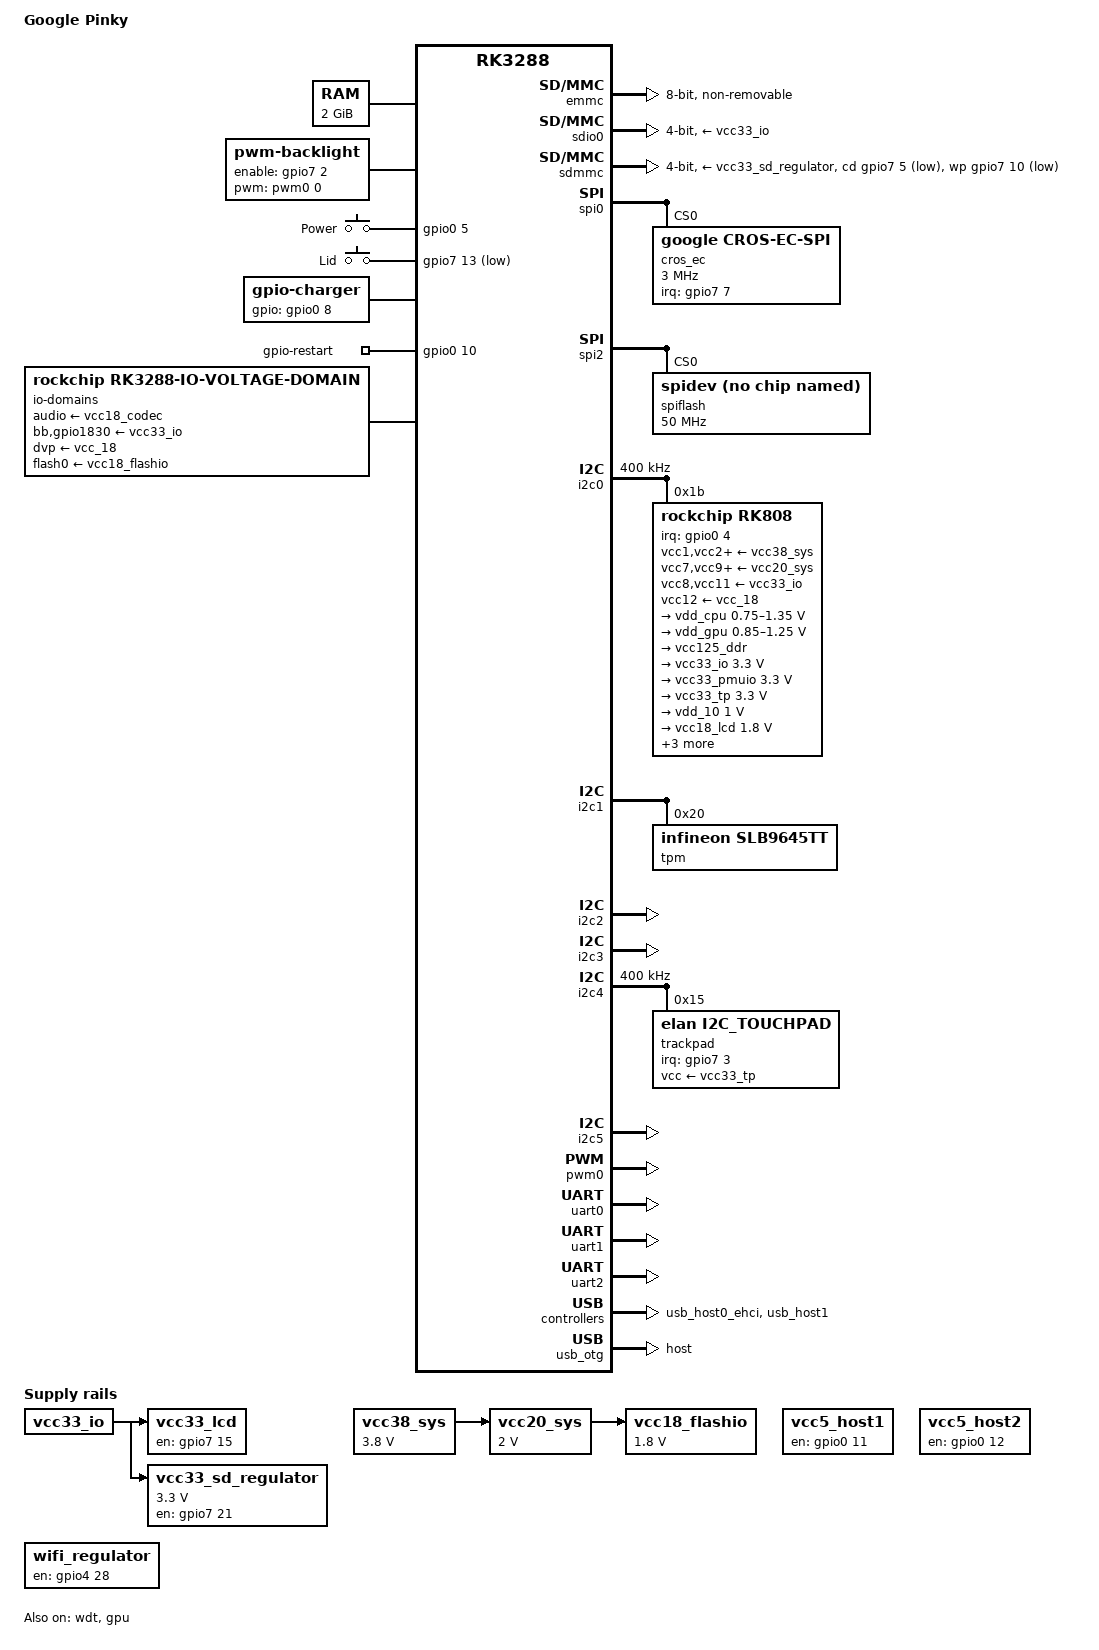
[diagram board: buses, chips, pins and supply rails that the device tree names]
/*
 * Google Veyron Pinky Rev 1 board device tree source
 *
 * Copyright 2014 Google, Inc
 *
 * This program is free software; you can redistribute it and/or modify
 * it under the terms of the GNU General Public License version 2 as
 * published by the Free Software Foundation.
 */

/dts-v1/;
#include <dt-bindings/clock/rockchip,rk808.h>
#include <dt-bindings/input/input.h>
#include "rk3288.dtsi"

/ {
	model = "Google Pinky";
	compatible = "google,veyron-pinky-rev1", "google,veyron-pinky",
		     "google,veyron", "rockchip,rk3288";

	aliases {
		i2c20 = &i2c20;
	};

	memory {
		reg = <0x0 0x80000000>;
	};

	backlight {
		compatible = "pwm-backlight";
		brightness-levels = <
			  0   1   2   3   4   5   6   7
			  8   9  10  11  12  13  14  15
			 16  17  18  19  20  21  22  23
			 24  25  26  27  28  29  30  31
			 32  33  34  35  36  37  38  39
			 40  41  42  43  44  45  46  47
			 48  49  50  51  52  53  54  55
			 56  57  58  59  60  61  62  63
			 64  65  66  67  68  69  70  71
			 72  73  74  75  76  77  78  79
			 80  81  82  83  84  85  86  87
			 88  89  90  91  92  93  94  95
			 96  97  98  99 100 101 102 103
			104 105 106 107 108 109 110 111
			112 113 114 115 116 117 118 119
			120 121 122 123 124 125 126 127
			128 129 130 131 132 133 134 135
			136 137 138 139 140 141 142 143
			144 145 146 147 148 149 150 151
			152 153 154 155 156 157 158 159
			160 161 162 163 164 165 166 167
			168 169 170 171 172 173 174 175
			176 177 178 179 180 181 182 183
			184 185 186 187 188 189 190 191
			192 193 194 195 196 197 198 199
			200 201 202 203 204 205 206 207
			208 209 210 211 212 213 214 215
			216 217 218 219 220 221 222 223
			224 225 226 227 228 229 230 231
			232 233 234 235 236 237 238 239
			240 241 242 243 244 245 246 247
			248 249 250 251 252 253 254 255>;
		default-brightness-level = <128>;
		enable-gpios = <&gpio7 2 GPIO_ACTIVE_HIGH>;
		pinctrl-names = "default";
		pinctrl-0 = <&bl_en>;
		pwms = <&pwm0 0 1000000 0>;
	};

	gpio-keys {
		compatible = "gpio-keys";
		#address-cells = <1>;
		#size-cells = <0>;
		autorepeat;

		pinctrl-names = "default";
		pinctrl-0 = <&pwr_key_h &lid_int>;
		power {
			label = "Power";
			gpios = <&gpio0 5 GPIO_ACTIVE_HIGH>;
			linux,code = <KEY_POWER>;
			debounce-interval = <100>;
			gpio-key,wakeup;
		};

		lid {
			label = "Lid";
			gpios = <&gpio7 13 GPIO_ACTIVE_LOW>;
			linux,code = <0>; /* SW_LID */
			linux,input-type = <5>; /* EV_SW */
			debounce-interval = <1>;
			gpio-key,wakeup;
                };
	};

	gpio-charger {
		compatible = "gpio-charger";
		gpios = <&gpio0 8 GPIO_ACTIVE_HIGH>;
		pinctrl-names = "default";
		pinctrl-0 = <&ac_present_ap>;
		charger-type = "mains";
	};

	gpio-restart {
		compatible = "gpio-restart";
		gpios = <&gpio0 10 GPIO_ACTIVE_HIGH>;
		pinctrl-names = "default";
		pinctrl-0 = <&otp_out>;
		priority = /bits/ 8 <200>;
	};

	vcc38_sys: vcc38-sys {
		compatible = "regulator-fixed";
		regulator-name = "vcc38_sys";
		regulator-always-on;
		regulator-boot-on;
		regulator-min-microvolt = <3800000>;
		regulator-max-microvolt = <3800000>;
	};

	vcc20_sys: vcc20-sys {
		compatible = "regulator-fixed";
		regulator-name = "vcc20_sys";
		regulator-always-on;
		regulator-boot-on;
		regulator-min-microvolt = <2000000>;
		regulator-max-microvolt = <2000000>;
		vin-supply = <&vcc38_sys>;
	};

	vcc18_flashio: vcc18-flashio {
		compatible = "regulator-fixed";
		regulator-name = "vcc18_flashio";
		regulator-always-on;
		regulator-boot-on;
		regulator-min-microvolt = <1800000>;
		regulator-max-microvolt = <1800000>;
		vin-supply = <&vcc20_sys>;
	};

	vcc33_lcd: vcc33-lcd-regulator {
		compatible = "regulator-fixed";
		enable-active-high;
		gpio = <&gpio7 15 GPIO_ACTIVE_HIGH>;
		pinctrl-names = "default";
		pinctrl-0 = <&lcd_en>;
		regulator-name = "vcc33_lcd";
		regulator-always-on;		/* TODO: remove */
		regulator-boot-on;
		vin-supply = <&vcc33_io>;
	};

	/* This enables the regulator for vcc33_sd */
	vcc33_sd_regulator: vcc33-sd-regulator {
		compatible = "regulator-fixed";
		enable-active-high;
		gpio = <&gpio7 21 GPIO_ACTIVE_HIGH>;
		pinctrl-names = "default";
		pinctrl-0 = <&sd_en>;
		regulator-always-on;
		regulator-min-microvolt = <3300000>;
		regulator-max-microvolt = <3300000>;
		regulator-name = "vcc33_sd";
		vin-supply = <&vcc33_io>;
	};

	/* This turns on vbus for host1 (dwc2) */
	vcc5_host1: vcc5-host1-regulator {
		compatible = "regulator-fixed";
		enable-active-high;
		gpio = <&gpio0 11 GPIO_ACTIVE_HIGH>;
		pinctrl-names = "default";
		pinctrl-0 = <&usb1_pwr_en>;
		regulator-name = "vcc5_host1";
		regulator-always-on;
		regulator-boot-on;
	};

	/* This turns on vbus for otg for host mode (dwc2) */
	vcc5_host2: vcc5-host2-regulator {
		compatible = "regulator-fixed";
		enable-active-high;
		gpio = <&gpio0 12 GPIO_ACTIVE_HIGH>;
		pinctrl-names = "default";
		pinctrl-0 = <&usb2_pwr_en>;
		regulator-name = "vcc5_host2";
		regulator-always-on;
		regulator-boot-on;
	};

	wifi_regulator: wifi-regulator {
		compatible = "regulator-fixed";
		enable-active-high;
		gpio = <&gpio4 28 GPIO_ACTIVE_HIGH>;
		pinctrl-names = "default";
		pinctrl-0 = <&wifi_reg_on>;
		regulator-name = "wifi_regulator";
	};

	io-domains {
		compatible = "rockchip,rk3288-io-voltage-domain";
		rockchip,grf = <&grf>;

		audio-supply = <&vcc18_codec>;
		bb-supply = <&vcc33_io>;
		dvp-supply = <&vcc_18>;
		flash0-supply = <&vcc18_flashio>;
		gpio1830-supply = <&vcc33_io>;
		gpio30-supply = <&vcc33_pmuio>;
		lcdc-supply = <&vcc33_lcd>;
		sdcard-supply = <&vccio_sd>;
		wifi-supply = <&vcc18_wl>;
	};
};

&cpu0 {
	cpu0-supply = <&vdd_cpu>;

	operating-points = <
		/* KHz    uV */
		1800000 1300000
		1608000 1200000
		1416000 1150000
		1200000 1100000
		1008000 1050000
		 816000 1000000
		 600000  900000
		 408000  850000
		 216000  850000
		 126000  850000
	>;
};

&emmc {
	broken-cd;
	bus-width = <8>;
	cap-mmc-highspeed;
	disable-wp;
	non-removable;
	num-slots = <1>;
	pinctrl-names = "default";
	pinctrl-0 = <&emmc_clk &emmc_cmd &emmc_pwr &emmc_bus8>;
	status = "okay";
};

&sdio0 {
	broken-cd;
	bus-width = <4>;
	cap-sd-highspeed;
	card-external-vcc-supply = <&wifi_regulator>;
	clocks = <&cru HCLK_SDIO0>, <&cru SCLK_SDIO0>, <&rk808 RK808_CLKOUT1>;
	clock-names = "biu", "ciu", "card_ext_clock";
	keep-power-in-suspend;
	num-slots = <1>;
	pinctrl-names = "default";
	pinctrl-0 = <&sdio0_clk &sdio0_cmd &sdio0_bus4>;
	status = "okay";
	vmmc-supply = <&vcc33_io>;
	vqmmc-supply = <&vcc18_wl>;
};

&sdmmc {
	bus-width = <4>;
	cap-mmc-highspeed;
	cap-sd-highspeed;
	card-detect-delay = <200>;
	cd-gpios = <&gpio7 5 GPIO_ACTIVE_LOW>;
	num-slots = <1>;
	pinctrl-names = "default";
	pinctrl-0 = <&sdmmc_clk &sdmmc_cmd &sdmmc_cd_gpio &sdmmc_wp_gpio
		     &sdmmc_bus4>;
	status = "okay";
	vmmc-supply = <&vcc33_sd_regulator>;
	wp-gpios = <&gpio7 10 GPIO_ACTIVE_LOW>;
};

&spi0 {
	status = "okay";

	cros_ec: ec@0 {
		compatible = "google,cros-ec-spi";
		spi-max-frequency = <3000000>;
		interrupt-parent = <&gpio7>;
		interrupts = <7 IRQ_TYPE_LEVEL_LOW>;
		pinctrl-names = "default";
		pinctrl-0 = <&ec_int>;
		reg = <0>;
		google,cros-ec-spi-pre-delay = <30>;

		i2c20: i2c-tunnel {
			compatible = "google,cros-ec-i2c-tunnel";
			google,remote-bus = <0>;
			#address-cells = <1>;
			#size-cells = <0>;

			battery: sbs-battery@b {
				compatible = "sbs,sbs-battery";
				reg = <0xb>;
				sbs,i2c-retry-count = <2>;
				sbs,poll-retry-count = <1>;
			};
		};
	};
};

&spi2 {
	status = "okay";

	spiflash@0 {
		compatible = "spidev";
		spi-max-frequency = <50000000>;
		reg = <0>;
	};
};

&i2c0 {
	clock-frequency = <400000>;
	status = "okay";

	rk808: pmic@1b {
		compatible = "rockchip,rk808";
		clock-output-names = "xin32k", "wifibt_32kin";
		interrupt-parent = <&gpio0>;
		interrupts = <4 IRQ_TYPE_LEVEL_LOW>;
		pinctrl-names = "default";
		pinctrl-0 = <&pmic_int>;
		reg = <0x1b>;
		rockchip,system-power-controller;
		wakeup-source;
		#clock-cells = <1>;

		vcc1-supply = <&vcc38_sys>;
		vcc2-supply = <&vcc38_sys>;
		vcc3-supply = <&vcc38_sys>;
		vcc4-supply = <&vcc38_sys>;
		vcc6-supply = <&vcc38_sys>;
		vcc7-supply = <&vcc20_sys>;
		vcc8-supply = <&vcc33_io>;
		vcc9-supply = <&vcc20_sys>;
		vcc10-supply = <&vcc20_sys>;
		vcc11-supply = <&vcc33_io>;
		vcc12-supply = <&vcc_18>;

		vddio-supply = <&vcc33_pmuio>;

		regulators {
			vdd_cpu: DCDC_REG1 {
				regulator-always-on;
				regulator-boot-on;
				regulator-min-microvolt = <750000>;
				regulator-max-microvolt = <1350000>;
				regulator-name = "vdd_arm";
				regulator-ramp-delay = <2000>;
			};

			vdd_gpu: DCDC_REG2 {
				regulator-always-on;
				regulator-boot-on;
				regulator-min-microvolt = <850000>;
				regulator-max-microvolt = <1250000>;
				regulator-name = "vdd_gpu";
				regulator-ramp-delay = <2000>;
			};

			vcc125_ddr: DCDC_REG3 {
				regulator-always-on;
				regulator-boot-on;
				regulator-name = "vcc125_ddr";
			};

			vcc33_io: DCDC_REG4 {
				regulator-always-on;
				regulator-boot-on;
				regulator-min-microvolt = <3300000>;
				regulator-max-microvolt = <3300000>;
				regulator-name = "vcc33_io";
			};

			vcc33_pmuio: LDO_REG1 {
				regulator-always-on;
				regulator-boot-on;
				regulator-min-microvolt = <3300000>;
				regulator-max-microvolt = <3300000>;
				regulator-name = "vcc33_pmuio";
			};

			vcc33_tp: LDO_REG2 {
				regulator-always-on;
				regulator-boot-on;
				regulator-min-microvolt = <3300000>;
				regulator-max-microvolt = <3300000>;
				regulator-name = "vcc33_tp";
			};

			vdd_10: LDO_REG3 {
				regulator-always-on;
				regulator-boot-on;
				regulator-min-microvolt = <1000000>;
				regulator-max-microvolt = <1000000>;
				regulator-name = "vdd_10";
			};

			vcc18_lcd: LDO_REG4 {
				regulator-always-on;
				regulator-boot-on;
				regulator-min-microvolt = <1800000>;
				regulator-max-microvolt = <1800000>;
				regulator-name = "vcc18_lcd";
			};

			vcc18_codec: LDO_REG5 {
				regulator-always-on;
				regulator-boot-on;
				regulator-min-microvolt = <1800000>;
				regulator-max-microvolt = <1800000>;
				regulator-name = "vcc18_codec";
			};

			vdd10_lcd: LDO_REG6 {
				regulator-always-on;
				regulator-boot-on;
				regulator-min-microvolt = <1000000>;
				regulator-max-microvolt = <1000000>;
				regulator-name = "vdd10_lcd";
			};

			vcc_18: LDO_REG7 {
				regulator-always-on;
				regulator-boot-on;
				regulator-min-microvolt = <1800000>;
				regulator-max-microvolt = <1800000>;
				regulator-name = "vcc_18";
			};

			vccio_sd: LDO_REG8 {
				regulator-always-on;
				regulator-boot-on;
				regulator-min-microvolt = <3300000>;
				regulator-max-microvolt = <3300000>;
				regulator-name = "vccio_sd";
			};

			vcc33_ccd: SWITCH_REG1 {
				regulator-always-on;
				regulator-boot-on;
				regulator-name = "vcc33_ccd";
			};

			vcc18_wl: SWITCH_REG2 {
				regulator-always-on;
				regulator-boot-on;
				regulator-name = "vcc18_wl";
			};
		};
	};
};

&i2c1 {
	status = "okay";

	tpm: tpm@20 {
		compatible = "infineon,slb9645tt";
		reg = <0x20>;
		pinctrl-names = "default";
		pinctrl-0 = <&tpm_int>;
		powered-while-suspended;
	};
};

&i2c2 {
	status = "okay";
};

&i2c3 {
	status = "okay";
};

&i2c4 {
	clock-frequency = <400000>;
	status = "okay";

	trackpad@15 {
		compatible = "elan,i2c_touchpad";
		interrupt-parent = <&gpio7>;
		interrupts = <3 IRQ_TYPE_EDGE_FALLING>;
		pinctrl-names = "default";
		pinctrl-0 = <&trackpad_int>;
		reg = <0x15>;
		vcc-supply = <&vcc33_tp>;
		wakeup-source;
	};
};

&i2c5 {
	status = "okay";
};

&wdt {
	status = "okay";
};

&pwm0 {
	status = "okay";
};

&uart0 {
	status = "okay";
};

&uart1 {
	status = "okay";
};

&uart2 {
	status = "okay";
};

&gpu {
	status = "okay";
};

&pinctrl {

	/* Add this for sdmmc pins to SD card */
	pcfg_pull_none_drv_8ma: pcfg-pull-none-drv-8ma {
		drive-strength = <8>;
	};

	pcfg_pull_up_drv_8ma: pcfg-pull-up-drv-8ma {
		bias-pull-up;
		drive-strength = <8>;
	};

	backlight {
		bl_en: bl-en {
			rockchip,pins = <7 2 RK_FUNC_GPIO &pcfg_pull_none>;
		};
	};

	buttons {
		pwr_key_h: pwr-key-h {
			rockchip,pins = <0 5 RK_FUNC_GPIO &pcfg_pull_none>;
		};

		lid_int: lid-int {
			rockchip,pins = <7 13 RK_FUNC_GPIO &pcfg_pull_up>;
		};
	};

	charger {
		ac_present_ap: ac-present-ap {
			rockchip,pins = <0 8 RK_FUNC_GPIO &pcfg_pull_none>;
		};
	};

	cros-ec {
		ec_int: ec-int {
			rockchip,pins = <7 7 RK_FUNC_GPIO &pcfg_pull_none>;
		};
	};

	lcd {
		lcd_en: lcd-en {
			rockchip,pins = <7 15 RK_FUNC_GPIO &pcfg_pull_none>;
		};
	};

	pmic {
		pmic_int: pmic-int {
			rockchip,pins = <RK_GPIO0 4 RK_FUNC_GPIO &pcfg_pull_up>;
		};
	};

	reboot {
		otp_out: otp-out {
			rockchip,pins = <RK_GPIO0 10 RK_FUNC_GPIO &pcfg_pull_none>;
		};
	};

	sdio0 {
		wifi_reg_on: wifi-reg-on {
			rockchip,pins = <4 28 RK_FUNC_GPIO &pcfg_pull_none>;
		};
	};

	sdmmc {
		sdmmc_bus4: sdmmc-bus4 {
			rockchip,pins = <6 16 RK_FUNC_1 &pcfg_pull_up_drv_8ma>,
				        <6 17 RK_FUNC_1 &pcfg_pull_up_drv_8ma>,
					<6 18 RK_FUNC_1 &pcfg_pull_up_drv_8ma>,
					<6 19 RK_FUNC_1 &pcfg_pull_up_drv_8ma>;
		};

		sdmmc_clk: sdmmc-clk {
			rockchip,pins = <6 20 RK_FUNC_1 &pcfg_pull_none_drv_8ma>;
		};

		sdmmc_cmd: sdmmc-cmd {
			rockchip,pins = <6 21 RK_FUNC_1 &pcfg_pull_up_drv_8ma>;
		};

		sdmmc_cd_gpio: sdmmc-cd-gpio {
			rockchip,pins = <7 5 RK_FUNC_GPIO &pcfg_pull_up>;
		};

		sdmmc_wp_gpio: sdmmc-wp-gpio {
			rockchip,pins = <7 10 RK_FUNC_GPIO &pcfg_pull_up>;
		};

	        sd_en: sd-en {
		        rockchip,pins = <7 21 RK_FUNC_GPIO &pcfg_pull_none>;
		};
	};

	tpm {
		tpm_int: tpm-int {
			rockchip,pins = <7 4 RK_FUNC_GPIO &pcfg_pull_none>;
		};
	};

	trackpad {
		trackpad_int: trackpad-int {
			rockchip,pins = <7 3 RK_FUNC_GPIO &pcfg_pull_up>;
		};
	};

	usb-host {
		usb1_pwr_en: usb1-pwr-en {
			rockchip,pins = <0 11 RK_FUNC_GPIO &pcfg_pull_none>;
		};

		usb2_pwr_en: usb2-pwr-en {
			rockchip,pins = <0 12 RK_FUNC_GPIO &pcfg_pull_none>;
		};
	};
};

&usb_host0_ehci {
	status = "okay";
};

&usb_host1 {
	status = "okay";
};

&usb_otg {
	dr_mode = "host";
	status = "okay";
};

#include "cros-ec-keyboard.dtsi"
